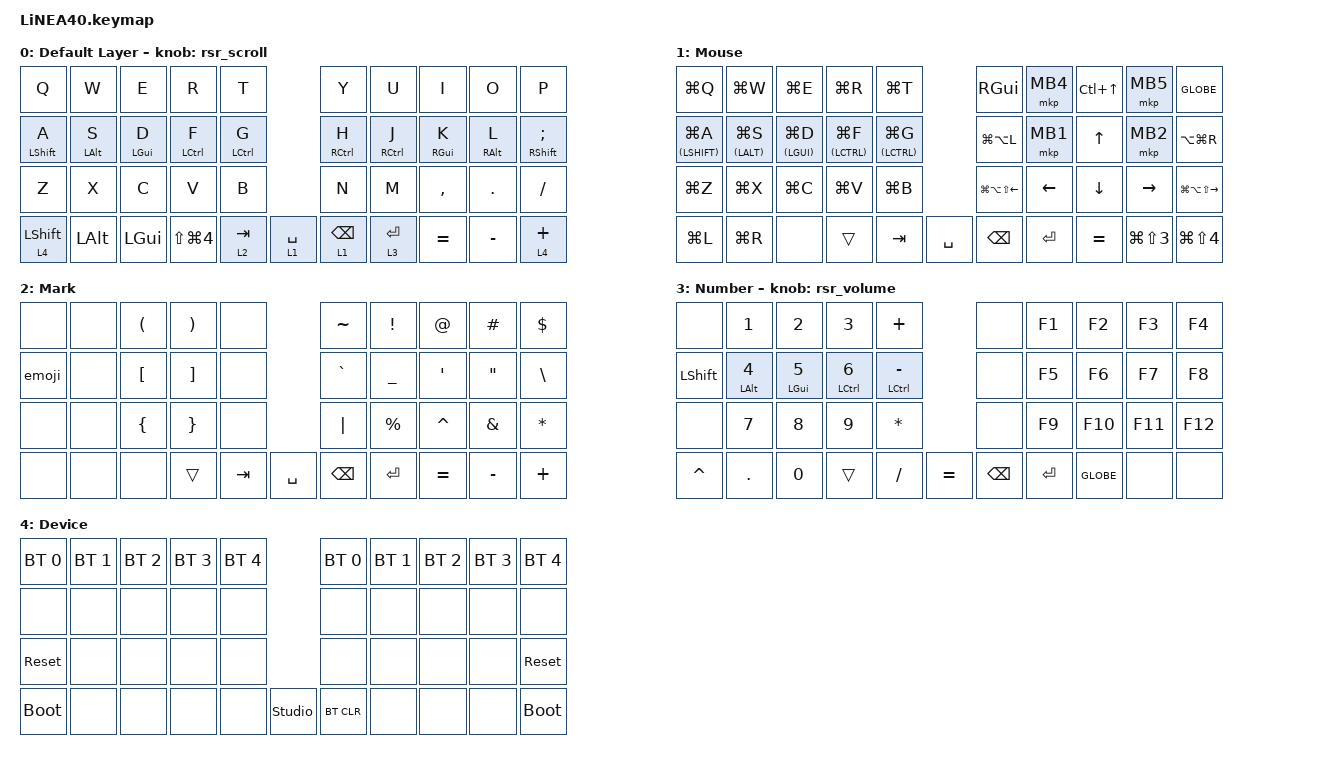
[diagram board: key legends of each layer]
#define ZMK_POINTING_DEFAULT_SCRL_VAL 200

#include <dt-bindings/zmk/mouse.h>
#include <behaviors.dtsi>
#include <dt-bindings/zmk/bt.h>
#include <dt-bindings/zmk/keys.h>
#include <dt-bindings/zmk/pointing.h>
#include <zephyr/dt-bindings/input/input-event-codes.h>
#include <input/processors/runtime-input-processor.dtsi>
#include <behaviors/runtime-sensor-rotate.dtsi>

&mt {
    tapping-term-ms = <300>;
    flavor = "balanced";
};

&lt { quick-tap-ms = <300>; };

&scroll_runtime_input_processor {
    x-codes = <INPUT_REL_X>;
    y-codes = <INPUT_REL_Y>;
    xy-to-scroll-enabled;
};

/ {
    macros {
        emoji: emoji_macro {
            compatible = "zmk,behavior-macro";
            label = "EMOJI";
            #binding-cells = <0>;
            bindings =
                <&macro_press>,
                <&kp CAPSLOCK>,
                <&macro_tap>,
                <&kp E>,
                <&macro_release>,
                <&kp CAPSLOCK>;
        };
    };

    behaviors {
        rsr_scroll: rsr_scroll {
            compatible = "zmk,behavior-runtime-sensor-rotate";
            #sensor-binding-cells = <0>;
            tap-ms = <20>;
            cw-binding = <&msc SCRL_DOWN>;
            ccw-binding = <&msc SCRL_UP>;
        };

        rsr_volume: rsr_volume {
            compatible = "zmk,behavior-runtime-sensor-rotate";
            #sensor-binding-cells = <0>;
            cw-binding = <&kp C_VOL_UP>;
            ccw-binding = <&kp C_VOL_DN>;
        };
    };

    runtime_combo_defaults {
        compatible = "cormoran,runtime-combo-defaults";

        combo_esc {
            key-positions = <0 1>;
            bindings = <&kp ESC>;
            display-name = "Esc";
        };

        combo_lang2 {
            key-positions = <34 35>;
            bindings = <&kp LANG2>;
            display-name = "LANG2";
        };

        combo_lang1 {
            key-positions = <36 37>;
            bindings = <&kp LANG1>;
            display-name = "LANG1";
        };
    };

    keymap {
        compatible = "zmk,keymap";

        default_layer {
            display-name = "Default Layer";
            bindings = <
&kp Q         &kp W       &kp E       &kp R           &kp T                              &kp Y        &kp U           &kp I       &kp O       &kp P
&mt LSHIFT A  &mt LALT S  &mt LGUI D  &mt LCTRL F     &mt LCTRL G                        &mt RCTRL H  &mt RCTRL J     &mt RGUI K  &mt RALT L  &mt RSHIFT SEMICOLON
&kp Z         &kp X       &kp C       &kp V           &kp B                              &kp N        &kp M           &kp COMMA   &kp DOT     &kp SLASH
&lt 4 LSHIFT  &kp LALT    &kp LGUI    &kp LS(LG(N4))  &lt 2 TAB    &lt 1 SPACE    &lt 1 BACKSPACE  &lt 3 ENTER  &kp EQUAL   &kp MINUS   &lt 4 PLUS
            >;

            sensor-bindings = <&rsr_scroll>;
        };

        layer_1 {
            display-name = "Mouse";
            bindings = <
&kp LG(Q)           &kp LG(W)         &kp LG(E)         &kp LG(R)          &kp LG(T)                                &kp RIGHT_GUI               &mkp MB4  &kp LC(UP_ARROW)  &mkp MB5        &kp GLOBE
&mt (LSHIFT) LG(A)  &mt (LALT) LG(S)  &mt (LGUI) LG(D)  &mt (LCTRL) LG(F)  &mt (LCTRL) LG(G)                        &kp LG(LA(L))               &mkp MB1  &kp UP_ARROW      &mkp MB2        &kp LA(LG(R))
&kp LG(Z)           &kp LG(X)         &kp LG(C)         &kp LG(V)          &kp LG(B)                                &kp LG(LA(LS(LEFT_ARROW)))  &kp LEFT  &kp DOWN_ARROW    &kp RIGHT       &kp LG(LA(LS(RIGHT)))
&kp LG(L)           &kp LG(R)         &none             &trans             &kp TAB            &kp SPACE    &kp BACKSPACE  &kp ENTER                   &kp EQUAL         &kp LG(LS(N3))  &kp LG(LS(N4))
            >;
        };

        layer_2 {
            display-name = "Mark";
            bindings = <
&none   &none  &kp LEFT_PARENTHESIS  &kp RIGHT_PARENTHESIS  &none                      &kp TILDE  &kp EXCLAMATION  &kp AT_SIGN       &kp HASH           &kp DOLLAR
&emoji  &none  &kp LEFT_BRACKET      &kp RIGHT_BRACKET      &none                      &kp GRAVE  &kp UNDER        &kp SINGLE_QUOTE  &kp DOUBLE_QUOTES  &kp BACKSLASH
&none   &none  &kp LEFT_BRACE        &kp RIGHT_BRACE        &none                      &kp PIPE   &kp PERCENT      &kp CARET         &kp AMPERSAND      &kp ASTERISK
&none   &none  &none                 &trans                 &kp TAB  &kp SPACE    &kp BACKSPACE  &kp ENTER  &kp EQUAL         &kp MINUS          &kp PLUS
            >;
        };

        layer_3 {
            display-name = "Number";
            bindings = <
&none       &kp N1             &kp N2             &kp N3              &kp PLUS                               &none      &kp F1  &kp F2     &kp F3   &kp F4
&kp LSHIFT  &mt LALT NUMBER_4  &mt LGUI NUMBER_5  &mt LCTRL NUMBER_6  &mt LCTRL MINUS                        &none      &kp F5  &kp F6     &kp F7   &kp F8
&none       &kp N7             &kp N8             &kp N9              &kp ASTERISK                           &none      &kp F9  &kp F10    &kp F11  &kp F12
&kp CARET   &kp DOT            &kp NUMBER_0       &trans              &kp SLASH        &kp EQUAL    &kp BACKSPACE  &kp ENTER  &kp GLOBE  &none    &none
            >;

            sensor-bindings = <&rsr_volume>;
        };

        layer_4 {
            display-name = "Device";
            bindings = <
&bt BT_SEL 0  &bt BT_SEL 1  &bt BT_SEL 2  &bt BT_SEL 3  &bt BT_SEL 4                          &bt BT_SEL 0  &bt BT_SEL 1  &bt BT_SEL 2  &bt BT_SEL 3  &bt BT_SEL 4
&none         &none         &none         &none         &none                                 &none         &none         &none         &none         &none
&sys_reset    &none         &none         &none         &none                                 &none         &none         &none         &none         &sys_reset
&bootloader   &none         &none         &none         &none         &studio_unlock    &bt BT_CLR  &none         &none         &none         &bootloader
            >;
        };
    };
};
